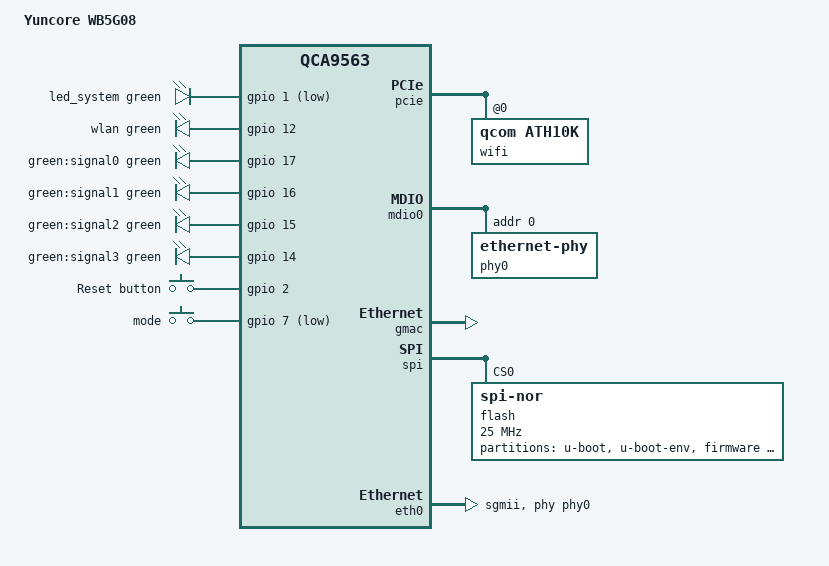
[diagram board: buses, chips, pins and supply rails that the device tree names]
// SPDX-License-Identifier: GPL-2.0-or-later OR MIT

#include "qca956x.dtsi"

#include <dt-bindings/leds/common.h>
#include <dt-bindings/gpio/gpio.h>
#include <dt-bindings/input/input.h>

/ {
	compatible = "yuncore,wb5g08", "qca,qca9563";
	model = "Yuncore WB5G08";

	aliases {
		label-mac-device = &eth0;
		led-boot = &led_system;
		led-failsafe = &led_system;
		led-running = &led_system;
		led-upgrade = &led_system;
	};

	leds {
		compatible = "gpio-leds";

		led_system: power {
			function = LED_FUNCTION_POWER;
			color = <LED_COLOR_ID_GREEN>;
			gpios = <&gpio 1 GPIO_ACTIVE_LOW>;
			default-state = "on";
		};

		wlan {
			function = LED_FUNCTION_WLAN;
			color = <LED_COLOR_ID_GREEN>;
			gpios = <&gpio 12 GPIO_ACTIVE_HIGH>;
			linux,default-trigger = "phy0tpt";
		};

		link1 {
			label = "green:signal0";
			color = <LED_COLOR_ID_GREEN>;
			gpios = <&gpio 17 GPIO_ACTIVE_HIGH>;
		};

		link2 {
			label = "green:signal1";
			color = <LED_COLOR_ID_GREEN>;
			gpios = <&gpio 16 GPIO_ACTIVE_HIGH>;
		};

		link3 {
			label = "green:signal2";
			color = <LED_COLOR_ID_GREEN>;
			gpios = <&gpio 15 GPIO_ACTIVE_HIGH>;
		};

		link4 {
			label = "green:signal3";
			color = <LED_COLOR_ID_GREEN>;
			gpios = <&gpio 14 GPIO_ACTIVE_HIGH>;
		};
	};

	keys {
		compatible = "gpio-keys";

		reset {
			label = "Reset button";
			linux,code = <KEY_RESTART>;
			gpios = <&gpio 2 GPIO_ACTIVE_HIGH>;
			debounce-interval = <60>;
		};

		mode {
			label = "mode";
			linux,code = <BTN_0>;
			linux,input-type = <EV_SW>;
			gpios = <&gpio 7 GPIO_ACTIVE_LOW>;
		};
	};
};

&pcie {
	status = "okay";

	wifi@0,0 {
		compatible = "qcom,ath10k";
		reg = <0x0000 0 0 0 0>;
		qcom,ath10k-calibration-variant = "Yuncore-WB5G08";
		nvmem-cells = <&macaddr_art_5006>;
		nvmem-cell-names = "mac-address";
	};
};

&mdio0 {
	status = "okay";

	phy0: ethernet-phy@0 {
		reg = <0>;
		phy-mode = "sgmii";
		qca,mib-poll-interval = <500>;

		qca,ar8327-initvals = <
			0x04 0x00080080 /* PORT0 PAD MODE CTRL */
			0x10 0x81000080 /* POWER_ON_STRAP */
			0x7c 0x0000007e /* PORT0_STATUS */
		>;
	};
};

&gmac {
	status = "okay";
};

&spi {
	status = "okay";

	flash@0 {
		compatible = "jedec,spi-nor";
		reg = <0>;
		spi-max-frequency = <25000000>;

		partitions {
			compatible = "fixed-partitions";
			#address-cells = <1>;
			#size-cells = <1>;

			partition@0 {
				label = "u-boot";
				reg = <0x000000 0x040000>;
				read-only;
			};

			partition@40000 {
				label = "u-boot-env";
				reg = <0x040000 0x010000>;
				read-only;
			};

			partition@50000 {
				compatible = "denx,uimage";
				label = "firmware";
				reg = <0x050000 0xfa0000>;
			};

			partition@ff0000 {
				label = "art";
				reg = <0xff0000 0x010000>;
				read-only;

				nvmem-layout {
					compatible = "fixed-layout";
					#address-cells = <1>;
					#size-cells = <1>;

					macaddr_art_0: macaddr@0 {
						reg = <0x0 0x6>;
					};

					macaddr_art_5006: macaddr@5006 {
						reg = <0x5006 0x6>;
					};
				};
			};
		};
	};
};

&eth0 {
	status = "okay";

	nvmem-cells = <&macaddr_art_0>;
	nvmem-cell-names = "mac-address";
	phy-mode = "sgmii";
	phy-handle = <&phy0>;
};
